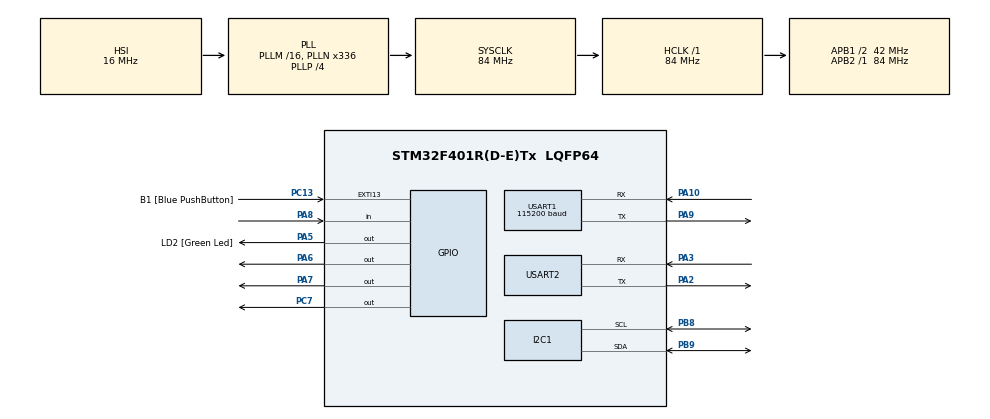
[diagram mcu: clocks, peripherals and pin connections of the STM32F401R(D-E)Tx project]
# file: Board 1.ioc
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Mcu.Family=STM32F4
Mcu.Name=STM32F401R(D-E)Tx
Mcu.Package=LQFP64
NVIC.PriorityGroup=NVIC_PRIORITYGROUP_0
PA10.Mode=Asynchronous
PA10.Signal=USART1_RX
PA13.GPIO_Label=TMS
PA13.Mode=Serial_Wire
PA13.Signal=SYS_JTMS-SWDIO
PA14.GPIO_Label=TCK
PA14.Mode=Serial_Wire
PA14.Signal=SYS_JTCK-SWCLK
PA2.Mode=Asynchronous
PA2.Signal=USART2_TX
PA3.Mode=Asynchronous
PA3.Signal=USART2_RX
PA5.GPIO_Label=LD2 [Green Led]
PA5.GPIO_Mode=GPIO_MODE_OUTPUT_PP
PA5.GPIO_PuPd=GPIO_NOPULL
PA5.GPIO_Speed=GPIO_SPEED_FREQ_LOW
PA5.Signal=GPIO_Output
PA6.Signal=GPIO_Output
PA7.Signal=GPIO_Output
PA8.Signal=GPIO_Input
PA9.Mode=Asynchronous
PA9.Signal=USART1_TX
PB3.GPIO_Label=SWO
PB3.Signal=SYS_JTDO-SWO
PB8.Mode=I2C
PB8.Signal=I2C1_SCL
PB9.Mode=I2C
PB9.Signal=I2C1_SDA
PC13-ANTI_TAMP.GPIO_Label=B1 [Blue PushButton]
PC13-ANTI_TAMP.GPIO_ModeDefaultEXTI=GPIO_MODE_IT_FALLING
PC13-ANTI_TAMP.GPIO_PuPd=GPIO_NOPULL
PC13-ANTI_TAMP.Signal=GPXTI13
PC14-OSC32_IN.Mode=LSE-External-Oscillator
PC14-OSC32_IN.Signal=RCC_OSC32_IN
PC15-OSC32_OUT.Mode=LSE-External-Oscillator
PC15-OSC32_OUT.Signal=RCC_OSC32_OUT
PC7.Signal=GPIO_Output
PH0\ -\ OSC_IN.Mode=HSE-External-Clock-Source
PH0\ -\ OSC_IN.Signal=RCC_OSC_IN
PH1\ -\ OSC_OUT.Mode=HSE-External-Clock-Source
PH1\ -\ OSC_OUT.Signal=RCC_OSC_OUT
ProjectManager.HeapSize=0x200
ProjectManager.StackSize=0x400
ProjectManager.TargetToolchain=STM32CubeIDE
RCC.48MHZClocksFreq_Value=48000000
RCC.AHBFreq_Value=84000000
RCC.APB1CLKDivider=RCC_HCLK_DIV2
RCC.APB1Freq_Value=42000000
RCC.APB1TimFreq_Value=84000000
RCC.APB2Freq_Value=84000000
RCC.APB2TimFreq_Value=84000000
RCC.CortexFreq_Value=84000000
RCC.HCLKFreq_Value=84000000
RCC.HSE_VALUE=8000000
RCC.HSI_VALUE=16000000
RCC.PLLN=336
RCC.PLLP=RCC_PLLP_DIV4
RCC.PLLQ=7
RCC.SYSCLKFreq_VALUE=84000000
RCC.SYSCLKSource=RCC_SYSCLKSOURCE_PLLCLK
RCC.VCOOutputFreq_Value=336000000
USART1.BaudRate=115200
USART1.Mode=MODE_RX
USART1.VirtualMode=VM_ASYNC
USART2.VirtualMode=VM_ASYNC
board=NUCLEO-F401RE

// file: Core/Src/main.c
/* USER CODE BEGIN Header */
/**
  ******************************************************************************
  * @file           : main.c
  * @brief          : Main program body
  ******************************************************************************
  * @attention
  *
  * Copyright (c) 2024 STMicroelectronics.
  * All rights reserved.
  *
  * This software is licensed under terms that can be found in the LICENSE file
  * in the root directory of this software component.
  * If no LICENSE file comes with this software, it is provided AS-IS.
  *
  ******************************************************************************
  */
/* USER CODE END Header */
#include "main.h"
#include "stdio.h"
#include "liquidcrystal_i2c.h"

I2C_HandleTypeDef hi2c1;

UART_HandleTypeDef huart1;
UART_HandleTypeDef huart2;

/* USER CODE BEGIN PV */
/* USER CODE BEGIN PV */
uint8_t txData[] = "Hello from Board 1!\r\n"; // Data to transmit
/* USER CODE END PV */

void SystemClock_Config(void);
static void MX_GPIO_Init(void);
static void MX_USART1_UART_Init(void);
static void MX_I2C1_Init(void);
static void MX_USART2_UART_Init(void);

/* USER CODE BEGIN 0 */
/*void I2C_Scanner(void) {
    printf("Scanning I2C bus...\r\n");
    for (uint8_t i = 1; i < 128; i++) {
        if (HAL_I2C_IsDeviceReady(&hi2c1, i << 1, 1, 100) == HAL_OK) {
            printf("Device found at address: 0x%02X\r\n", i << 1);
        }
    }
    printf("Scan complete.\r\n");
}*/
int _write(int file, char *data, int len) {
    HAL_UART_Transmit(&huart2, (uint8_t *)data, len, HAL_MAX_DELAY); // Transmit via UART1
    return len; // Return the number of bytes transmitted
}
void display_and_scroll_message(uint8_t *message) {
    HD44780_Clear();
    HD44780_SetCursor(0, 0);
    HD44780_PrintStr((char *)message); // Display message on LCD

    int message_length = strlen((char *)message);
    int visible_width = 16; // Adjust to your LCD width (e.g., 16x2 or 20x4)

    /*if (message_length > visible_width) {
        // Scroll only if the message is longer than visible width
        for (int x = 0; x < (message_length - visible_width + 1); x++) {
            HAL_Delay(500); // Adjust scroll speed as needed
            HD44780_ScrollDisplayLeft();
        }
    }*/
}
/* USER CODE END 0 */

int main(void)
{

  /* MCU Configuration--------------------------------------------------------*/

  /* Reset of all peripherals, Initializes the Flash interface and the Systick. */
  HAL_Init();

  /* Configure the system clock */
  SystemClock_Config();

  /* Initialize all configured peripherals */
  MX_GPIO_Init();
  MX_USART1_UART_Init();
  MX_I2C1_Init();
  MX_USART2_UART_Init();
  /* USER CODE BEGIN 2 */
    uint8_t buffer[150]; // Buffer for received data
    printf("Receiver initialized. Waiting for messages...\r\n");
    //HAL_UART_Transmit(&huart2, (uint32_t*)msg, strlen(msg), HAL_MAX_DELAY);
    /* USER CODE END 2 */
    /* USER CODE BEGIN 2 */
    HD44780_Init(2);
      HD44780_Clear();
      HD44780_SetCursor(0,0);

      display_and_scroll_message("Pending Announcement");
      /* USER CODE END 2 */
    /* Infinite loop */
    /* USER CODE BEGIN WHILE */
    while (1)
    {
    	 // Receive data from UART
    	    HAL_UART_Receive(&huart1, buffer, sizeof(buffer) - 1, HAL_MAX_DELAY);

    	    // Null-terminate the received data to avoid any issues
    	    buffer[sizeof(buffer) - 1] = '\0';

    	    // Print received message to terminal
    	    printf("Message received: %s\r\n", buffer);

    	    // Display and scroll the message on the LCD
    	    display_and_scroll_message(buffer);

    	    // Add a delay if necessary
    	    HAL_Delay(10000);  // Adjust delay based on your needs
  /* USER CODE END 3 */
}
}

void SystemClock_Config(void)
{
  RCC_OscInitTypeDef RCC_OscInitStruct = {0};
  RCC_ClkInitTypeDef RCC_ClkInitStruct = {0};

  /** Configure the main internal regulator output voltage
  */
  __HAL_RCC_PWR_CLK_ENABLE();
  __HAL_PWR_VOLTAGESCALING_CONFIG(PWR_REGULATOR_VOLTAGE_SCALE2);

  /** Initializes the RCC Oscillators according to the specified parameters
  * in the RCC_OscInitTypeDef structure.
  */
  RCC_OscInitStruct.OscillatorType = RCC_OSCILLATORTYPE_HSI;
  RCC_OscInitStruct.HSIState = RCC_HSI_ON;
  RCC_OscInitStruct.HSICalibrationValue = RCC_HSICALIBRATION_DEFAULT;
  RCC_OscInitStruct.PLL.PLLState = RCC_PLL_ON;
  RCC_OscInitStruct.PLL.PLLSource = RCC_PLLSOURCE_HSI;
  RCC_OscInitStruct.PLL.PLLM = 16;
  RCC_OscInitStruct.PLL.PLLN = 336;
  RCC_OscInitStruct.PLL.PLLP = RCC_PLLP_DIV4;
  RCC_OscInitStruct.PLL.PLLQ = 7;
  if (HAL_RCC_OscConfig(&RCC_OscInitStruct) != HAL_OK)
  {
    Error_Handler();
  }

  /** Initializes the CPU, AHB and APB buses clocks
  */
  RCC_ClkInitStruct.ClockType = RCC_CLOCKTYPE_HCLK|RCC_CLOCKTYPE_SYSCLK
                              |RCC_CLOCKTYPE_PCLK1|RCC_CLOCKTYPE_PCLK2;
  RCC_ClkInitStruct.SYSCLKSource = RCC_SYSCLKSOURCE_PLLCLK;
  RCC_ClkInitStruct.AHBCLKDivider = RCC_SYSCLK_DIV1;
  RCC_ClkInitStruct.APB1CLKDivider = RCC_HCLK_DIV2;
  RCC_ClkInitStruct.APB2CLKDivider = RCC_HCLK_DIV1;

  if (HAL_RCC_ClockConfig(&RCC_ClkInitStruct, FLASH_LATENCY_2) != HAL_OK)
  {
    Error_Handler();
  }
}

static void MX_I2C1_Init(void)
{

  hi2c1.Instance = I2C1;
  hi2c1.Init.ClockSpeed = 100000;
  hi2c1.Init.DutyCycle = I2C_DUTYCYCLE_2;
  hi2c1.Init.OwnAddress1 = 0;
  hi2c1.Init.AddressingMode = I2C_ADDRESSINGMODE_7BIT;
  hi2c1.Init.DualAddressMode = I2C_DUALADDRESS_DISABLE;
  hi2c1.Init.OwnAddress2 = 0;
  hi2c1.Init.GeneralCallMode = I2C_GENERALCALL_DISABLE;
  hi2c1.Init.NoStretchMode = I2C_NOSTRETCH_DISABLE;
  if (HAL_I2C_Init(&hi2c1) != HAL_OK)
  {
    Error_Handler();
  }

}

static void MX_USART1_UART_Init(void)
{

  huart1.Instance = USART1;
  huart1.Init.BaudRate = 115200;
  huart1.Init.WordLength = UART_WORDLENGTH_8B;
  huart1.Init.StopBits = UART_STOPBITS_1;
  huart1.Init.Parity = UART_PARITY_NONE;
  huart1.Init.Mode = UART_MODE_RX;
  huart1.Init.HwFlowCtl = UART_HWCONTROL_NONE;
  huart1.Init.OverSampling = UART_OVERSAMPLING_16;
  if (HAL_UART_Init(&huart1) != HAL_OK)
  {
    Error_Handler();
  }

}

static void MX_USART2_UART_Init(void)
{

  huart2.Instance = USART2;
  huart2.Init.BaudRate = 115200;
  huart2.Init.WordLength = UART_WORDLENGTH_8B;
  huart2.Init.StopBits = UART_STOPBITS_1;
  huart2.Init.Parity = UART_PARITY_NONE;
  huart2.Init.Mode = UART_MODE_TX_RX;
  huart2.Init.HwFlowCtl = UART_HWCONTROL_NONE;
  huart2.Init.OverSampling = UART_OVERSAMPLING_16;
  if (HAL_UART_Init(&huart2) != HAL_OK)
  {
    Error_Handler();
  }

}

static void MX_GPIO_Init(void)
{
  GPIO_InitTypeDef GPIO_InitStruct = {0};

  /* GPIO Ports Clock Enable */
  __HAL_RCC_GPIOC_CLK_ENABLE();
  __HAL_RCC_GPIOH_CLK_ENABLE();
  __HAL_RCC_GPIOA_CLK_ENABLE();
  __HAL_RCC_GPIOB_CLK_ENABLE();

  /*Configure GPIO pin Output Level */
  HAL_GPIO_WritePin(GPIOA, LD2_Pin|GPIO_PIN_6|GPIO_PIN_7, GPIO_PIN_RESET);

  /*Configure GPIO pin Output Level */
  HAL_GPIO_WritePin(GPIOC, GPIO_PIN_7, GPIO_PIN_RESET);

  /*Configure GPIO pin : B1_Pin */
  GPIO_InitStruct.Pin = B1_Pin;
  GPIO_InitStruct.Mode = GPIO_MODE_IT_FALLING;
  GPIO_InitStruct.Pull = GPIO_NOPULL;
  HAL_GPIO_Init(B1_GPIO_Port, &GPIO_InitStruct);

  /*Configure GPIO pins : LD2_Pin PA6 PA7 */
  GPIO_InitStruct.Pin = LD2_Pin|GPIO_PIN_6|GPIO_PIN_7;
  GPIO_InitStruct.Mode = GPIO_MODE_OUTPUT_PP;
  GPIO_InitStruct.Pull = GPIO_NOPULL;
  GPIO_InitStruct.Speed = GPIO_SPEED_FREQ_LOW;
  HAL_GPIO_Init(GPIOA, &GPIO_InitStruct);

  /*Configure GPIO pin : PC7 */
  GPIO_InitStruct.Pin = GPIO_PIN_7;
  GPIO_InitStruct.Mode = GPIO_MODE_OUTPUT_PP;
  GPIO_InitStruct.Pull = GPIO_NOPULL;
  GPIO_InitStruct.Speed = GPIO_SPEED_FREQ_LOW;
  HAL_GPIO_Init(GPIOC, &GPIO_InitStruct);

}

void Error_Handler(void)
{
  __disable_irq();
  while (1)
  {
  }
}
